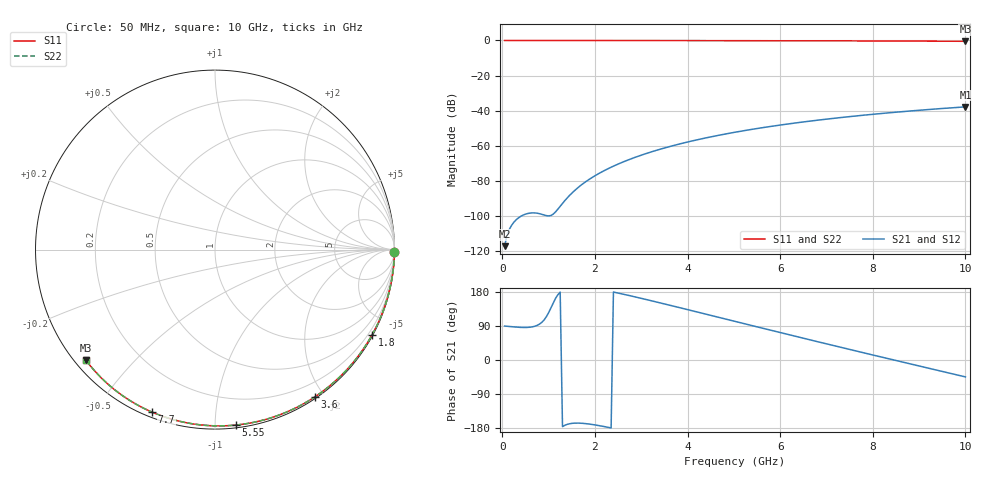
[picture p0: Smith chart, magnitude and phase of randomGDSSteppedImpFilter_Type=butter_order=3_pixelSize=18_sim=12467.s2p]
! freq	dB(S11)	phase(S11)	dB(S12)	phase(S12)
!  dB(S21)	phase(S21)	dB(S22)	phase(S22)
!S-par simulation data
#  GHz  S  DB  R 50
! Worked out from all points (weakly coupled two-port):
!   200 points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, 50 MHz to 10 GHz, reference 50 ohm
!   highest |S21| = -37.82 dB at 10 GHz (marker M1); lowest = -117.1 dB at 50 MHz (marker M2)
!   lowest |S11| = -0.5 dB at 10 GHz (marker M3), VSWR 36.83, Z = 1.54 - j18.5 ohm
!   |S11| at or under -10 dB: nowhere
!   |S22| runs from -0.5 to 0.0 dB; largest |S21 - S12| = 0
!   S11 on the Smith chart (normalised r, x): 50 MHz: open; 1.8 GHz: 0.03, -3.92; 3.6 GHz: 0.02, -1.89; 5.55 GHz: 0.02, -1.12; 7.7 GHz: 0.02, -0.69; 10 GHz: 0.03, -0.37
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0.05  -0.00 -0.8  -117.13 89.6  -117.13 89.6  -0.00 -0.8
0.45  -0.01 -7.3  -99.42 85.8  -99.42 85.8  -0.01 -7.3
0.9  -0.02 -14.4  -99.37 105.3  -99.37 105.3  -0.02 -14.4
1.75  -0.04 -27.8  -81.41 -167.3  -81.41 -167.3  -0.04 -27.8
1.8  -0.04 -28.6  -80.45 -167.9  -80.45 -167.9  -0.04 -28.6
1.85  -0.04 -29.4  -79.55 -168.6  -79.55 -168.6  -0.04 -29.4
2.05  -0.04 -32.5  -76.28 -172.3  -76.28 -172.3  -0.04 -32.5
2.25  -0.05 -35.6  -73.45 -176.9  -73.45 -176.9  -0.05 -35.6
2.55  -0.05 -40.2  -69.82 175.4  -69.82 175.4  -0.05 -40.2
2.95  -0.06 -46.2  -65.77 164.2  -65.77 164.2  -0.06 -46.2
3.4  -0.07 -52.9  -61.99 151.0  -61.99 151.0  -0.07 -52.9
3.6  -0.08 -55.9  -60.50 145.0  -60.50 145.0  -0.08 -55.9
3.9  -0.08 -60.2  -58.46 136.0  -58.46 136.0  -0.08 -60.2
4.3  -0.09 -66.0  -56.02 123.9  -56.02 123.9  -0.09 -66.0
5.05  -0.12 -76.5  -52.14 101.2  -52.14 101.2  -0.12 -76.5
5.55  -0.14 -83.3  -49.94 86.0  -49.94 86.0  -0.14 -83.3
6.1  -0.16 -90.6  -47.79 69.5  -47.79 69.5  -0.16 -90.6
6.7  -0.19 -98.5  -45.74 51.5  -45.74 51.5  -0.19 -98.5
7.7  -0.25 -111.2  -42.82 22.0  -42.82 22.0  -0.25 -111.2
8.35  -0.31 -119.2  -41.19 3.0  -41.19 3.0  -0.31 -119.2
9.2  -0.38 -129.6  -39.33 -21.5  -39.33 -21.5  -0.38 -129.6
10  -0.47 -139.3  -37.82 -44.6  -37.82 -44.6  -0.47 -139.3
